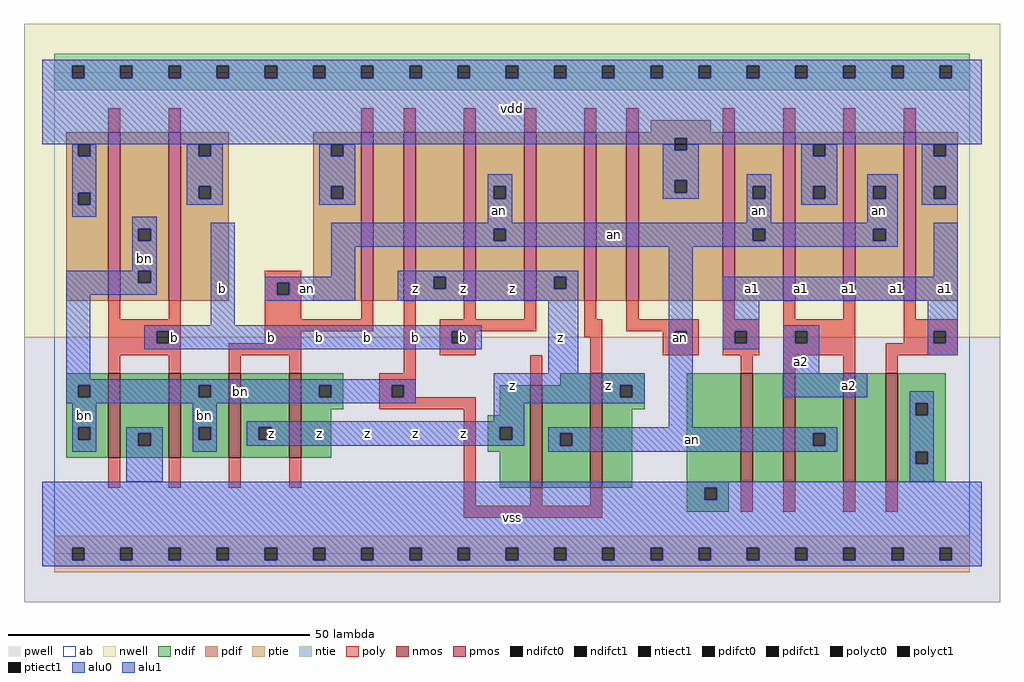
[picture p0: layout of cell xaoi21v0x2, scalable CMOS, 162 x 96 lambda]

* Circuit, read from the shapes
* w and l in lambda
.subckt xaoi21v0x2 a1 a2 an b bn vdd vss z
M1 vss b bn vss nfet w=14 l=2 m=2
M2 z an bn vss nfet w=14 l=2 m=2
M3 an bn z vss nfet w=17 l=2
M4 z bn an vss nfet w=19 l=2
M5 n1 a1 vss vss nfet w=18 l=2
M6 an a2 n1 vss nfet w=18 l=2
M7 n2 a2 an vss nfet w=18 l=2
M8 vss a1 n2 vss nfet w=18 l=2
M9 bn b vdd vdd pfet w=28 l=2 m=2
M10 n3 an vdd vdd pfet w=28 l=2
M11 z bn n3 vdd pfet w=28 l=2
M12 an b z vdd pfet w=28 l=2 m=2
M13 n4 bn z vdd pfet w=28 l=2
M14 vdd an n4 vdd pfet w=28 l=2
M15 an a1 vdd vdd pfet w=28 l=2 m=2
M16 vdd a2 an vdd pfet w=28 l=2 m=2
.ends

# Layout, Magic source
magic
tech scmos
<< ab >>
rect 0 0 152 80
<< nwell >>
rect -5 36 157 88
<< pwell >>
rect -5 -8 157 36
<< poly >>
rect 9 70 11 74
rect 19 70 21 74
rect 51 70 53 74
rect 58 70 60 74
rect 68 70 70 74
rect 78 70 80 74
rect 88 70 90 74
rect 95 70 97 74
rect 111 70 113 74
rect 121 70 123 74
rect 131 70 133 74
rect 141 70 143 74
rect 35 45 41 47
rect 35 43 37 45
rect 39 43 41 45
rect 9 39 11 42
rect 19 39 21 42
rect 9 37 21 39
rect 9 35 17 37
rect 19 35 21 37
rect 35 39 41 43
rect 51 39 53 42
rect 35 37 53 39
rect 35 35 41 37
rect 9 33 21 35
rect 9 30 11 33
rect 19 30 21 33
rect 29 33 41 35
rect 29 30 31 33
rect 39 30 41 33
rect 58 30 60 42
rect 68 39 70 42
rect 78 39 80 42
rect 64 37 80 39
rect 88 39 90 42
rect 95 39 97 42
rect 111 39 113 42
rect 121 39 123 42
rect 131 39 133 42
rect 64 35 66 37
rect 68 35 70 37
rect 88 36 91 39
rect 95 37 107 39
rect 64 33 70 35
rect 54 28 60 30
rect 79 28 81 33
rect 89 30 91 36
rect 101 35 103 37
rect 105 35 107 37
rect 101 33 107 35
rect 111 37 117 39
rect 111 35 113 37
rect 115 35 117 37
rect 111 33 117 35
rect 121 37 133 39
rect 121 35 123 37
rect 125 35 133 37
rect 141 39 143 42
rect 141 37 150 39
rect 141 35 146 37
rect 148 35 150 37
rect 121 33 133 35
rect 114 30 116 33
rect 121 30 123 33
rect 131 30 133 33
rect 138 33 150 35
rect 138 30 140 33
rect 54 26 56 28
rect 58 26 60 28
rect 54 24 70 26
rect 9 11 11 16
rect 19 11 21 16
rect 29 11 31 16
rect 39 11 41 16
rect 68 8 70 24
rect 79 8 81 11
rect 89 8 91 11
rect 68 6 91 8
rect 114 7 116 12
rect 121 7 123 12
rect 131 7 133 12
rect 138 7 140 12
<< ndif >>
rect 2 28 9 30
rect 2 26 4 28
rect 6 26 9 28
rect 2 21 9 26
rect 2 19 4 21
rect 6 19 9 21
rect 2 16 9 19
rect 11 20 19 30
rect 11 18 14 20
rect 16 18 19 20
rect 11 16 19 18
rect 21 28 29 30
rect 21 26 24 28
rect 26 26 29 28
rect 21 21 29 26
rect 21 19 24 21
rect 26 19 29 21
rect 21 16 29 19
rect 31 21 39 30
rect 31 19 34 21
rect 36 19 39 21
rect 31 16 39 19
rect 41 28 48 30
rect 41 26 44 28
rect 46 26 48 28
rect 41 24 48 26
rect 84 28 89 30
rect 41 16 46 24
rect 74 23 79 28
rect 72 21 79 23
rect 72 19 74 21
rect 76 19 79 21
rect 72 17 79 19
rect 74 11 79 17
rect 81 20 89 28
rect 81 18 84 20
rect 86 18 89 20
rect 81 11 89 18
rect 91 28 98 30
rect 91 26 94 28
rect 96 26 98 28
rect 91 24 98 26
rect 91 11 96 24
rect 105 12 114 30
rect 116 12 121 30
rect 123 20 131 30
rect 123 18 126 20
rect 128 18 131 20
rect 123 12 131 18
rect 133 12 138 30
rect 140 25 148 30
rect 140 23 143 25
rect 145 23 148 25
rect 140 17 148 23
rect 140 15 143 17
rect 145 15 148 17
rect 140 12 148 15
rect 105 11 112 12
rect 105 9 108 11
rect 110 9 112 11
rect 105 7 112 9
<< pdif >>
rect 99 70 109 72
rect 2 68 9 70
rect 2 66 4 68
rect 6 66 9 68
rect 2 60 9 66
rect 2 58 4 60
rect 6 58 9 60
rect 2 42 9 58
rect 11 54 19 70
rect 11 52 14 54
rect 16 52 19 54
rect 11 47 19 52
rect 11 45 14 47
rect 16 45 19 47
rect 11 42 19 45
rect 21 68 29 70
rect 21 66 24 68
rect 26 66 29 68
rect 21 61 29 66
rect 21 59 24 61
rect 26 59 29 61
rect 21 42 29 59
rect 43 68 51 70
rect 43 66 46 68
rect 48 66 51 68
rect 43 61 51 66
rect 43 59 46 61
rect 48 59 51 61
rect 43 42 51 59
rect 53 42 58 70
rect 60 46 68 70
rect 60 44 63 46
rect 65 44 68 46
rect 60 42 68 44
rect 70 61 78 70
rect 70 59 73 61
rect 75 59 78 61
rect 70 54 78 59
rect 70 52 73 54
rect 75 52 78 54
rect 70 42 78 52
rect 80 46 88 70
rect 80 44 83 46
rect 85 44 88 46
rect 80 42 88 44
rect 90 42 95 70
rect 97 69 111 70
rect 97 67 103 69
rect 105 67 111 69
rect 97 62 111 67
rect 97 60 103 62
rect 105 60 111 62
rect 97 42 111 60
rect 113 61 121 70
rect 113 59 116 61
rect 118 59 121 61
rect 113 54 121 59
rect 113 52 116 54
rect 118 52 121 54
rect 113 42 121 52
rect 123 68 131 70
rect 123 66 126 68
rect 128 66 131 68
rect 123 61 131 66
rect 123 59 126 61
rect 128 59 131 61
rect 123 42 131 59
rect 133 61 141 70
rect 133 59 136 61
rect 138 59 141 61
rect 133 54 141 59
rect 133 52 136 54
rect 138 52 141 54
rect 133 42 141 52
rect 143 68 150 70
rect 143 66 146 68
rect 148 66 150 68
rect 143 61 150 66
rect 143 59 146 61
rect 148 59 150 61
rect 143 42 150 59
<< alu1 >>
rect -2 81 154 82
rect -2 79 3 81
rect 5 79 11 81
rect 13 79 19 81
rect 21 79 27 81
rect 29 79 35 81
rect 37 79 43 81
rect 45 79 51 81
rect 53 79 59 81
rect 61 79 67 81
rect 69 79 75 81
rect 77 79 83 81
rect 85 79 91 81
rect 93 79 99 81
rect 101 79 107 81
rect 109 79 115 81
rect 117 79 123 81
rect 125 79 131 81
rect 133 79 139 81
rect 141 79 147 81
rect 149 79 154 81
rect -2 69 154 79
rect -2 68 103 69
rect 105 68 154 69
rect 26 38 30 55
rect 57 46 87 47
rect 57 44 63 46
rect 65 44 83 46
rect 85 44 87 46
rect 57 42 87 44
rect 15 37 71 38
rect 15 35 17 37
rect 19 35 66 37
rect 68 35 71 37
rect 15 34 71 35
rect 82 30 87 42
rect 146 46 150 55
rect 73 28 98 30
rect 73 26 94 28
rect 96 26 98 28
rect 73 25 98 26
rect 73 22 78 25
rect 32 21 78 22
rect 111 42 150 46
rect 111 37 117 42
rect 111 35 113 37
rect 115 35 117 37
rect 111 34 117 35
rect 121 37 127 38
rect 121 35 123 37
rect 125 35 127 37
rect 121 30 127 35
rect 145 37 150 42
rect 145 35 146 37
rect 148 35 150 37
rect 145 33 150 35
rect 121 26 135 30
rect 32 19 34 21
rect 36 19 74 21
rect 76 19 78 21
rect 32 18 78 19
rect -2 11 154 12
rect -2 9 108 11
rect 110 9 154 11
rect -2 1 154 9
rect -2 -1 3 1
rect 5 -1 11 1
rect 13 -1 19 1
rect 21 -1 27 1
rect 29 -1 35 1
rect 37 -1 43 1
rect 45 -1 51 1
rect 53 -1 59 1
rect 61 -1 67 1
rect 69 -1 75 1
rect 77 -1 83 1
rect 85 -1 91 1
rect 93 -1 99 1
rect 101 -1 107 1
rect 109 -1 115 1
rect 117 -1 123 1
rect 125 -1 131 1
rect 133 -1 139 1
rect 141 -1 147 1
rect 149 -1 154 1
rect -2 -2 154 -1
<< ptie >>
rect 0 1 152 3
rect 0 -1 3 1
rect 5 -1 11 1
rect 13 -1 19 1
rect 21 -1 27 1
rect 29 -1 35 1
rect 37 -1 43 1
rect 45 -1 51 1
rect 53 -1 59 1
rect 61 -1 67 1
rect 69 -1 75 1
rect 77 -1 83 1
rect 85 -1 91 1
rect 93 -1 99 1
rect 101 -1 107 1
rect 109 -1 115 1
rect 117 -1 123 1
rect 125 -1 131 1
rect 133 -1 139 1
rect 141 -1 147 1
rect 149 -1 152 1
rect 0 -3 152 -1
<< ntie >>
rect 0 81 152 83
rect 0 79 3 81
rect 5 79 11 81
rect 13 79 19 81
rect 21 79 27 81
rect 29 79 35 81
rect 37 79 43 81
rect 45 79 51 81
rect 53 79 59 81
rect 61 79 67 81
rect 69 79 75 81
rect 77 79 83 81
rect 85 79 91 81
rect 93 79 99 81
rect 101 79 107 81
rect 109 79 115 81
rect 117 79 123 81
rect 125 79 131 81
rect 133 79 139 81
rect 141 79 147 81
rect 149 79 152 81
rect 0 77 152 79
<< nmos >>
rect 9 16 11 30
rect 19 16 21 30
rect 29 16 31 30
rect 39 16 41 30
rect 79 11 81 28
rect 89 11 91 30
rect 114 12 116 30
rect 121 12 123 30
rect 131 12 133 30
rect 138 12 140 30
<< pmos >>
rect 9 42 11 70
rect 19 42 21 70
rect 51 42 53 70
rect 58 42 60 70
rect 68 42 70 70
rect 78 42 80 70
rect 88 42 90 70
rect 95 42 97 70
rect 111 42 113 70
rect 121 42 123 70
rect 131 42 133 70
rect 141 42 143 70
<< polyct0 >>
rect 37 43 39 45
rect 103 35 105 37
rect 56 26 58 28
<< polyct1 >>
rect 17 35 19 37
rect 66 35 68 37
rect 113 35 115 37
rect 123 35 125 37
rect 146 35 148 37
<< ndifct0 >>
rect 4 26 6 28
rect 4 19 6 21
rect 14 18 16 20
rect 24 26 26 28
rect 24 19 26 21
rect 44 26 46 28
rect 84 18 86 20
rect 126 18 128 20
rect 143 23 145 25
rect 143 15 145 17
<< ndifct1 >>
rect 34 19 36 21
rect 74 19 76 21
rect 94 26 96 28
rect 108 9 110 11
<< ntiect1 >>
rect 3 79 5 81
rect 11 79 13 81
rect 19 79 21 81
rect 27 79 29 81
rect 35 79 37 81
rect 43 79 45 81
rect 51 79 53 81
rect 59 79 61 81
rect 67 79 69 81
rect 75 79 77 81
rect 83 79 85 81
rect 91 79 93 81
rect 99 79 101 81
rect 107 79 109 81
rect 115 79 117 81
rect 123 79 125 81
rect 131 79 133 81
rect 139 79 141 81
rect 147 79 149 81
<< ptiect1 >>
rect 3 -1 5 1
rect 11 -1 13 1
rect 19 -1 21 1
rect 27 -1 29 1
rect 35 -1 37 1
rect 43 -1 45 1
rect 51 -1 53 1
rect 59 -1 61 1
rect 67 -1 69 1
rect 75 -1 77 1
rect 83 -1 85 1
rect 91 -1 93 1
rect 99 -1 101 1
rect 107 -1 109 1
rect 115 -1 117 1
rect 123 -1 125 1
rect 131 -1 133 1
rect 139 -1 141 1
rect 147 -1 149 1
<< pdifct0 >>
rect 4 66 6 68
rect 4 58 6 60
rect 14 52 16 54
rect 14 45 16 47
rect 24 66 26 68
rect 24 59 26 61
rect 46 66 48 68
rect 46 59 48 61
rect 73 59 75 61
rect 73 52 75 54
rect 103 67 105 68
rect 103 60 105 62
rect 116 59 118 61
rect 116 52 118 54
rect 126 66 128 68
rect 126 59 128 61
rect 136 59 138 61
rect 136 52 138 54
rect 146 66 148 68
rect 146 59 148 61
<< pdifct1 >>
rect 63 44 65 46
rect 83 44 85 46
rect 103 68 105 69
<< alu0 >>
rect 3 66 4 68
rect 6 66 7 68
rect 3 60 7 66
rect 3 58 4 60
rect 6 58 7 60
rect 22 66 24 68
rect 26 66 28 68
rect 22 61 28 66
rect 22 59 24 61
rect 26 59 28 61
rect 22 58 28 59
rect 44 66 46 68
rect 48 66 50 68
rect 44 61 50 66
rect 101 67 103 68
rect 105 67 107 68
rect 44 59 46 61
rect 48 59 50 61
rect 44 58 50 59
rect 72 61 76 63
rect 72 59 73 61
rect 75 59 76 61
rect 101 62 107 67
rect 124 66 126 68
rect 128 66 130 68
rect 101 60 103 62
rect 105 60 107 62
rect 101 59 107 60
rect 115 61 119 63
rect 115 59 116 61
rect 118 59 119 61
rect 3 56 7 58
rect 13 54 17 56
rect 72 55 76 59
rect 115 55 119 59
rect 124 61 130 66
rect 144 66 146 68
rect 148 66 150 68
rect 124 59 126 61
rect 128 59 130 61
rect 124 58 130 59
rect 135 61 140 63
rect 135 59 136 61
rect 138 59 140 61
rect 135 55 140 59
rect 144 61 150 66
rect 144 59 146 61
rect 148 59 150 61
rect 144 58 150 59
rect 13 52 14 54
rect 16 52 17 54
rect 13 47 17 52
rect 2 45 14 47
rect 16 45 17 47
rect 2 43 17 45
rect 2 29 6 43
rect 46 54 140 55
rect 46 52 73 54
rect 75 52 116 54
rect 118 52 136 54
rect 138 52 140 54
rect 46 51 140 52
rect 46 46 50 51
rect 35 45 50 46
rect 35 43 37 45
rect 39 43 50 45
rect 35 42 50 43
rect 102 37 106 51
rect 102 35 103 37
rect 105 35 106 37
rect 2 28 60 29
rect 2 26 4 28
rect 6 26 24 28
rect 26 26 44 28
rect 46 26 56 28
rect 58 26 60 28
rect 2 25 60 26
rect 3 21 7 25
rect 23 21 27 25
rect 3 19 4 21
rect 6 19 7 21
rect 3 17 7 19
rect 12 20 18 21
rect 12 18 14 20
rect 16 18 18 20
rect 12 12 18 18
rect 23 19 24 21
rect 26 19 27 21
rect 23 17 27 19
rect 102 21 106 35
rect 142 25 146 27
rect 142 23 143 25
rect 145 23 146 25
rect 82 20 130 21
rect 82 18 84 20
rect 86 18 126 20
rect 128 18 130 20
rect 82 17 130 18
rect 142 17 146 23
rect 142 15 143 17
rect 145 15 146 17
rect 142 12 146 15
<< labels >>
rlabel alu0 25 23 25 23 6 bn
rlabel alu0 5 23 5 23 6 bn
rlabel alu0 15 49 15 49 6 bn
rlabel alu0 31 27 31 27 6 bn
rlabel alu0 42 44 42 44 6 an
rlabel alu0 74 57 74 57 6 an
rlabel polyct0 104 36 104 36 6 an
rlabel alu0 117 57 117 57 6 an
rlabel alu0 106 19 106 19 6 an
rlabel alu0 93 53 93 53 6 an
rlabel alu0 137 57 137 57 6 an
rlabel alu1 20 36 20 36 6 b
rlabel alu1 36 20 36 20 6 z
rlabel alu1 44 20 44 20 6 z
rlabel alu1 52 20 52 20 6 z
rlabel alu1 28 44 28 44 6 b
rlabel alu1 36 36 36 36 6 b
rlabel alu1 44 36 44 36 6 b
rlabel alu1 52 36 52 36 6 b
rlabel alu1 76 6 76 6 6 vss
rlabel alu1 60 20 60 20 6 z
rlabel alu1 68 20 68 20 6 z
rlabel alu1 76 28 76 28 6 z
rlabel alu1 60 36 60 36 6 b
rlabel alu1 60 44 60 44 6 z
rlabel alu1 68 36 68 36 6 b
rlabel alu1 68 44 68 44 6 z
rlabel alu1 76 44 76 44 6 z
rlabel alu1 84 36 84 36 6 z
rlabel alu1 76 74 76 74 6 vdd
rlabel alu1 92 28 92 28 6 z
rlabel alu1 116 44 116 44 6 a1
rlabel alu1 132 28 132 28 6 a2
rlabel alu1 124 32 124 32 6 a2
rlabel alu1 124 44 124 44 6 a1
rlabel alu1 148 44 148 44 6 a1
rlabel alu1 132 44 132 44 6 a1
rlabel alu1 140 44 140 44 6 a1
<< end >>
